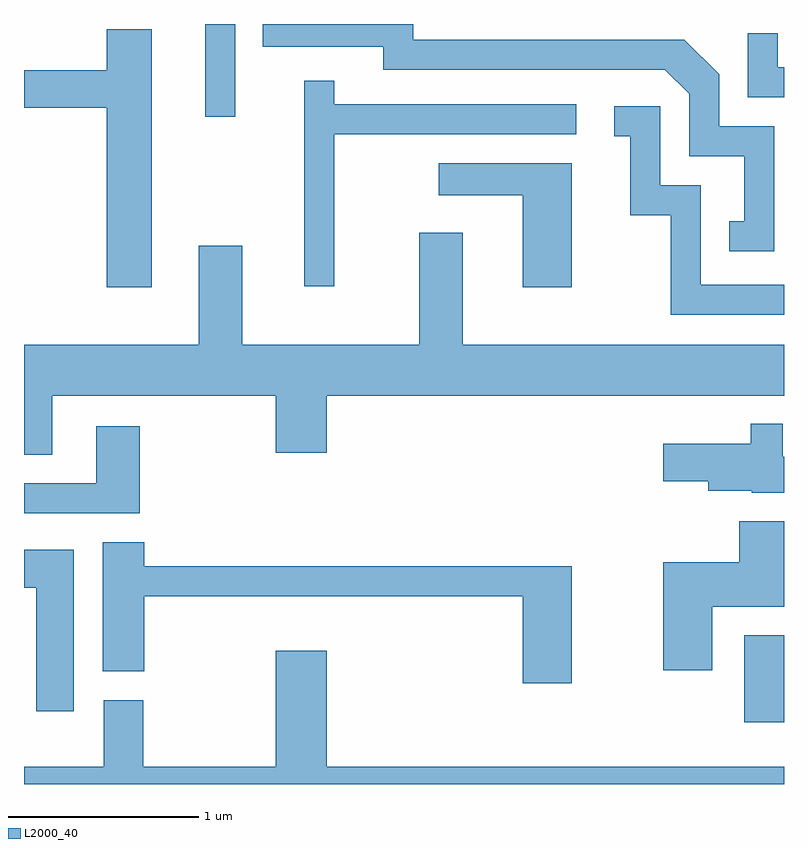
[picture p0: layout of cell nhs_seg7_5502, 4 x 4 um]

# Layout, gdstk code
import gdstk
lib = gdstk.Library(unit=1e-6, precision=1e-09)
def R(c, l, rs):  # rectangles x0, y0, x1, y1
    for r in rs: c.add(gdstk.rectangle(r[:2], r[2:], *l))
def P(c, l, *ps):  # polygons
    for p in ps: c.add(gdstk.Polygon(p, *l))
L2000_40 = (2000, 40)

nhs_seg7_5502 = lib.new_cell('nhs_seg7_5502')
R(nhs_seg7_5502, L2000_40, [(357.401,1732.576,357.611,1733.034), (354.566,1735.763,354.724,1736.252)])
P(nhs_seg7_5502, L2000_40, [(357.559,1735.714),(357.269,1735.714),(357.269,1735.987),(357.087,1736.169),(355.659,1736.169),(355.659,1736.252),(354.868,1736.252),(354.868,1736.131),(355.501,1736.131),(355.501,1736.011),(356.984,1736.011),(357.111,1735.884),(357.111,1735.556),(357.401,1735.556),(357.401,1735.214),(357.323,1735.214),(357.323,1735.056),(357.559,1735.056)],
  [(354.284,1736.224),(354.046,1736.224),(354.046,1736.009),(353.611,1736.009),(353.611,1735.811),(354.046,1735.811),(354.046,1734.866),(354.284,1734.866)],
  [(357.611,1736.024),(357.579,1736.024),(357.579,1736.203),(357.421,1736.203),(357.421,1735.866),(357.611,1735.866)],
  [(355.244,1735.671),(356.518,1735.671),(356.518,1735.829),(355.244,1735.829),(355.244,1735.953),(355.086,1735.953),(355.086,1734.873),(355.244,1734.873)],
  [(357.611,1734.879),(357.174,1734.879),(357.174,1735.404),(356.959,1735.404),(356.959,1735.819),(356.718,1735.819),(356.718,1735.661),(356.801,1735.661),(356.801,1735.246),(357.016,1735.246),(357.016,1734.721),(357.611,1734.721)],
  [(356.494,1735.519),(355.793,1735.519),(355.793,1735.351),(356.236,1735.351),(356.236,1734.866),(356.494,1734.866)],
  [(354.936,1733.996),(355.204,1733.996),(355.204,1734.296),(357.611,1734.296),(357.611,1734.564),(355.919,1734.564),(355.919,1735.154),(355.691,1735.154),(355.691,1734.564),(354.759,1734.564),(354.759,1735.084),(354.531,1735.084),(354.531,1734.564),(353.611,1734.564),(353.611,1733.986),(353.759,1733.986),(353.759,1734.296),(354.936,1734.296)],
  [(357.611,1733.974),(357.604,1733.974),(357.604,1734.148),(357.436,1734.148),(357.436,1734.044),(356.976,1734.044),(356.976,1733.846),(357.211,1733.846),(357.211,1733.796),(357.44,1733.796),(357.44,1733.786),(357.611,1733.786)],
  [(354.219,1734.134),(353.991,1734.134),(353.991,1733.834),(353.611,1733.834),(353.611,1733.676),(354.219,1733.676)],
  [(357.234,1733.186),(357.611,1733.186),(357.611,1733.634),(357.376,1733.634),(357.376,1733.419),(356.976,1733.419),(356.976,1732.851),(357.234,1732.851)],
  [(356.494,1733.399),(354.244,1733.399),(354.244,1733.524),(354.026,1733.524),(354.026,1732.846),(354.244,1732.846),(354.244,1733.241),(356.236,1733.241),(356.236,1732.781),(356.494,1732.781)],
  [(353.874,1733.484),(353.611,1733.484),(353.611,1733.286),(353.676,1733.286),(353.676,1732.636),(353.874,1732.636)],
  [(357.611,1732.344),(355.204,1732.344),(355.204,1732.954),(354.936,1732.954),(354.936,1732.344),(354.239,1732.344),(354.239,1732.694),(354.031,1732.694),(354.031,1732.344),(353.611,1732.344),(353.611,1732.252),(357.611,1732.252)])

lib.write_gds('nhs_seg7_5502.gds')
